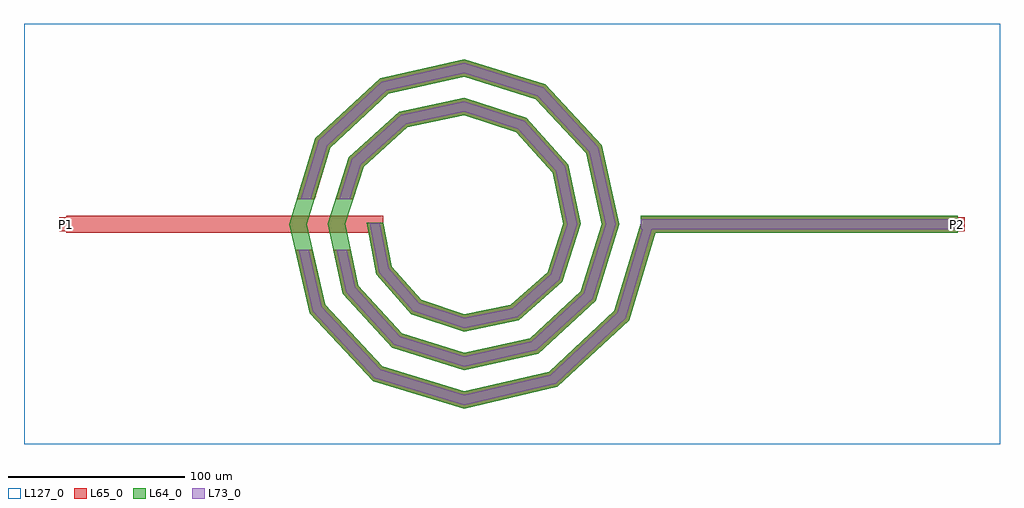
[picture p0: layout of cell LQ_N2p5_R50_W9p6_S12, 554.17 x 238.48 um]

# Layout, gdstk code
import gdstk
lib = gdstk.Library(unit=1e-6, precision=1e-09)
def R(c, l, rs):  # rectangles x0, y0, x1, y1
    for r in rs: c.add(gdstk.rectangle(r[:2], r[2:], *l))
def P(c, l, *ps):  # polygons
    for p in ps: c.add(gdstk.Polygon(p, *l))
L64_0 = (64, 0)
L65_0 = (65, 0)
L73_0 = (73, 0)
L127_0 = (127, 0)

lq_n2p5_r50_w9p6_s12 = lib.new_cell('LQ_N2p5_R50_W9p6_S12')
R(lq_n2p5_r50_w9p6_s12, L64_0, [(100.396,-4.8,280.396,4.8)])
P(lq_n2p5_r50_w9p6_s12, L64_0, [(-40.919,-23.996),(-24.358,-42.812),(0.301,-51.075),(26.7,-45.663),(47.527,-27.113),(56.536,0.274),(50.405,29.409),(29.864,52.244),(0.252,61.997),(-32.121,55.145),(-56.964,32.612),(-67.459,0.233),(-59.884,-34.836),(-35.358,-61.685),(0.217,-72.92),(37.554,-64.621),(66.407,-38.101),(78.382,0.202),(69.358,40.273),(40.843,71.131),(0.19,83.843),(-42.993,74.094),(-75.855,43.584),(-89.305,0.179),(-78.829,-45.715),(-46.324,-80.58),(0.169,-94.767),(48.438,-83.564),(85.305,-49.063),(100.602,1.393),(109.789,-1.393),(93.745,-54.312),(53.117,-92.333),(0.169,-104.7),(-51.589,-89.01),(-87.607,-50.377),(-99.238,0.179),(-84.275,48.867),(-47.637,82.882),(0.19,93.776),(46.145,79.538),(78.157,44.895),(88.313,0.202),(74.801,-43.425),(42.152,-73.433),(0.217,-82.851),(-40.707,-70.063),(-68.71,-39.408),(-77.388,0.233),(-65.323,37.99),(-36.661,63.988),(0.252,71.925),(35.276,60.582),(59.268,33.911),(66.462,0.274),(55.839,-32.565),(31.157,-54.549),(0.301,-60.998),(-29.858,-51.094),(-49.833,-28.399),(-55.283,0.934),(-45.867,0.934)])
R(lq_n2p5_r50_w9p6_s12, L65_0, [(-225.775,-4.8,-45.775,4.8), (100.396,-4.8,280.396,4.8), (-229.775,-4,-221.775,4), (276.396,-4,284.396,4)])
P(lq_n2p5_r50_w9p6_s12, L65_0, [(-78.829,-45.715),(-46.324,-80.58),(0.169,-94.767),(48.438,-83.564),(85.306,-49.063),(100.602,1.393),(109.789,-1.393),(93.745,-54.312),(53.117,-92.333),(0.169,-104.701),(-51.589,-89.01),(-87.607,-50.377),(-95.884,-14.4),(-86.033,-14.4)],
  [(-59.884,-34.836),(-35.358,-61.685),(0.217,-72.92),(37.554,-64.621),(66.407,-38.101),(78.382,0.202),(69.358,40.273),(40.843,71.131),(0.19,83.843),(-42.993,74.094),(-75.855,43.584),(-84.824,14.4),(-94.868,14.4),(-84.275,48.867),(-47.637,82.882),(0.19,93.776),(46.145,79.538),(78.157,44.895),(88.313,0.202),(74.801,-43.425),(42.152,-73.434),(0.217,-82.851),(-40.707,-70.063),(-68.71,-39.408),(-74.185,-14.4),(-64.357,-14.4)],
  [(-24.358,-42.812),(0.301,-51.075),(26.7,-45.663),(47.527,-27.113),(56.536,0.274),(50.405,29.409),(29.864,52.244),(0.252,61.997),(-32.121,55.145),(-56.964,32.612),(-62.783,14.4),(-72.861,14.4),(-65.323,37.99),(-36.661,63.989),(0.252,71.925),(35.276,60.582),(59.268,33.911),(66.462,0.274),(55.839,-32.565),(31.157,-54.549),(0.301,-60.999),(-29.858,-51.094),(-49.833,-28.399),(-55.283,0.934),(-45.867,0.934),(-40.919,-23.996)])
R(lq_n2p5_r50_w9p6_s12, L73_0, [(100.396,-2.8,280.396,2.8)])
P(lq_n2p5_r50_w9p6_s12, L73_0, [(-80.658,-46.686),(-47.421,-82.336),(0.099,-96.836),(49.412,-85.391),(87.064,-50.156),(102.516,0.812),(107.875,0.812),(91.987,-53.219),(52.142,-90.506),(0.099,-102.631),(-50.492,-87.254),(-85.779,-49.406),(-93.832,-14.4),(-88.086,-14.4)],
  [(-61.723,-35.789),(-36.472,-63.43),(0.126,-74.989),(38.512,-66.457),(68.156,-39.211),(80.451,0.118),(71.191,41.236),(41.948,72.882),(0.111,85.913),(-43.961,75.925),(-77.609,44.685),(-86.917,14.4),(-92.775,14.4),(-82.521,47.766),(-46.67,81.051),(0.111,91.706),(45.041,77.787),(76.324,43.932),(86.244,0.118),(73.052,-42.316),(41.194,-71.598),(0.126,-80.782),(-39.593,-68.318),(-66.872,-38.455),(-72.137,-14.4),(-66.405,-14.4)],
  [(-25.504,-44.537),(0.176,-53.143),(27.629,-47.515),(49.258,-28.249),(58.604,0.16),(52.252,30.347),(30.992,53.981),(0.147,64.066),(-33.067,56.988),(-58.705,33.733),(-64.883,14.4),(-70.762,14.4),(-63.582,36.87),(-35.715,62.146),(0.147,69.857),(34.149,58.845),(57.422,32.973),(64.394,0.16),(54.108,-31.429),(30.229,-52.698),(0.176,-58.931),(-28.712,-49.368),(-47.976,-27.482),(-53.321,0.545),(-47.828,0.545),(-42.776,-24.914)])
R(lq_n2p5_r50_w9p6_s12, L127_0, [(-249.775,-124.701,304.396,113.776)])
lq_n2p5_r50_w9p6_s12.add(gdstk.Label('P2', (280.396,0), layer=65, texttype=0))
lq_n2p5_r50_w9p6_s12.add(gdstk.Label('P1', (-225.775,0), layer=65, texttype=0))
lq_n2p5_r50_w9p6_s12.add(gdstk.Label('P2', (284.396,0), layer=145, texttype=0))
lq_n2p5_r50_w9p6_s12.add(gdstk.Label('P1', (-229.775,0), layer=145, texttype=0))

lib.write_gds('LQ_N2p5_R50_W9p6_S12.gds')
